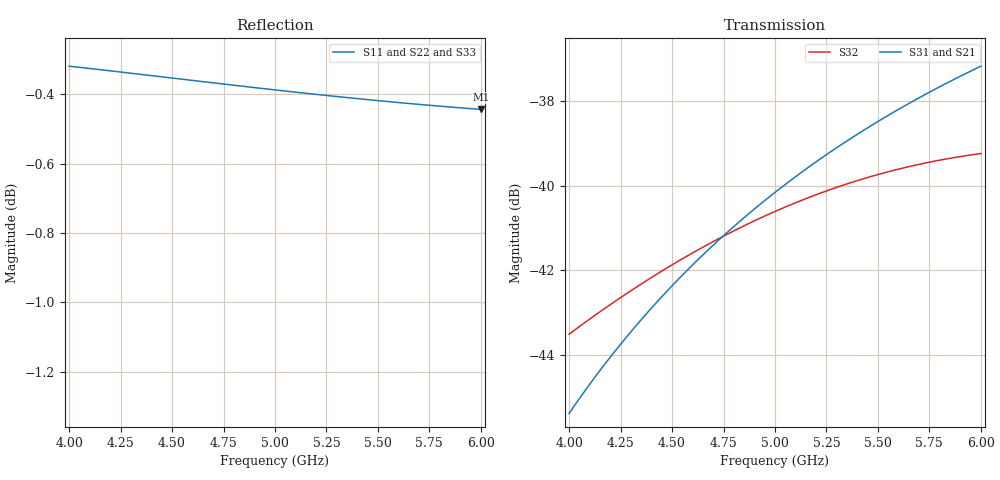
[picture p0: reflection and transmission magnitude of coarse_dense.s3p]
! yapnr rf: divider-osh-w-sched, footprint re-simulated (optimization grid)
! spec sha256 a695714fe4669d91357af09eb6c71142ba3a268c85e6750933766b3682f3e517
! 3 ports renormalized to 50 ohm, e^(+jwt) convention
# GHz S RI R 50
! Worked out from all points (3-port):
!   81 points, 4 GHz to 6 GHz, reference 50 ohm
!   strongest paths, dB at 4 GHz, 4.5 GHz, 5 GHz, 5.5 GHz, 6 GHz:
!     S31: -45.4, -42.4, -40.2, -38.5, -37.2
!     S21: -45.4, -42.4, -40.2, -38.5, -37.2
!     S32: -43.5, -41.9, -40.6, -39.7, -39.2
!   lowest |S11| = -0.4 dB at 6 GHz (marker M1), VSWR 39.14, Z = 1.35 - j12 ohm
!   |S11| at or under -10 dB: nowhere
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4  -0.2247 -0.9373  -0.00396 0.00279  -0.00396 0.00279
   -0.00455 0.00288  -0.4675 -0.8427  -0.00453 -0.00491
   -0.00455 0.00288  -0.00453 -0.00491  -0.4675 -0.8427
4.1  -0.2649 -0.926  -0.00416 0.00324  -0.00416 0.00324
     -0.00478 0.00334  -0.5045 -0.8204  -0.00522 -0.00461
     -0.00478 0.00334  -0.00522 -0.00461  -0.5045 -0.8204
4.225  -0.3144 -0.9094  -0.00436 0.00384  -0.00436 0.00384
       -0.00502 0.00395  -0.5489 -0.7905  -0.00604 -0.00412
       -0.00502 0.00395  -0.00604 -0.00412  -0.5489 -0.7905
4.45  -0.4007 -0.8729  -0.00454 0.00502  -0.00454 0.00502
      -0.00529 0.00517  -0.6237 -0.7312  -0.00737 -0.00293
      -0.00529 0.00517  -0.00737 -0.00293  -0.6237 -0.7312
4.725  -0.5002 -0.8175  -0.00444 0.00658  -0.00444 0.00658
       -0.00529 0.0068  -0.7054 -0.6503  -0.00859 -0.00103
       -0.00529 0.0068  -0.00859 -0.00103  -0.7054 -0.6503
5  -0.5923 -0.7508  -0.00393 0.00817  -0.00393 0.00817
   -0.00487 0.00852  -0.776 -0.5613  -0.00924 0.00121
   -0.00487 0.00852  -0.00924 0.00121  -0.776 -0.5613
5.25  -0.6685 -0.6814  -0.00311 0.00956  -0.00311 0.00956
      -0.0041 0.0101  -0.8303 -0.4747  -0.00927 0.00335
      -0.0041 0.0101  -0.00927 0.00335  -0.8303 -0.4747
5.5  -0.7368 -0.6044  -0.00196 0.0108  -0.00196 0.0108
     -0.00294 0.0115  -0.8747 -0.3834  -0.00876 0.00542
     -0.00294 0.0115  -0.00876 0.00542  -0.8747 -0.3834
5.75  -0.7965 -0.5205  -0.000501 0.0119  -0.000501 0.0119
      -0.00142 0.0128  -0.9092 -0.2884  -0.00779 0.00727
      -0.00142 0.0128  -0.00779 0.00727  -0.9092 -0.2884
6  -0.847 -0.4307  0.00123 0.0127  0.00123 0.0127
   0.000451 0.0138  -0.9334 -0.1907  -0.00647 0.00879
   0.000451 0.0138  -0.00647 0.00879  -0.9334 -0.1907
